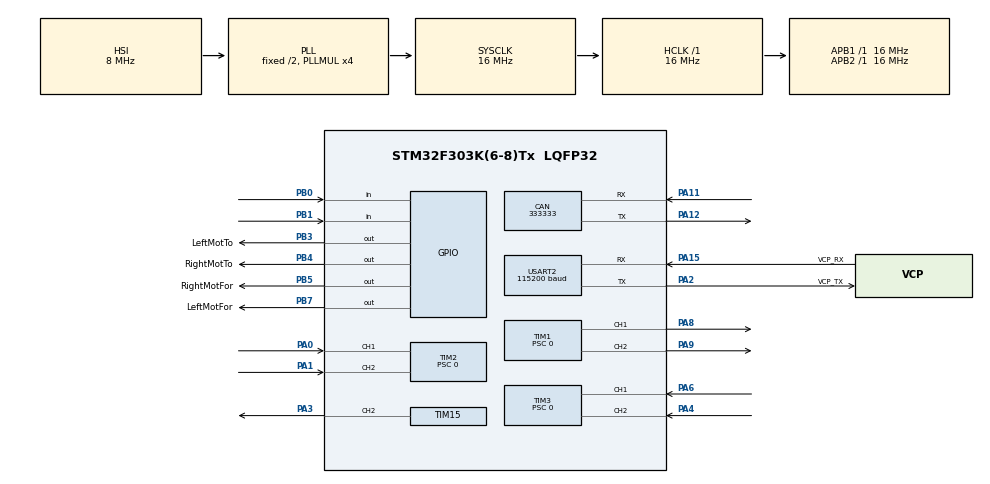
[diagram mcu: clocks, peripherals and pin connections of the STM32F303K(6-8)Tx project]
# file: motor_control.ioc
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Mcu.Family=STM32F3
TIM17.Prescaler=10
RCC.CortexFreq_Value=16000000
VP_TIM17_VS_ClockSourceINT.Mode=Enable_Timer
PF0\ /\ OSC_IN.Mode=HSE-External-Clock-Source
PA14.GPIO_Label=SWCLK
TIM3.EncoderMode=TIM_ENCODERMODE_TI12
PA11.Mode=CAN_Activate
TIM2.EncoderMode=TIM_ENCODERMODE_TI12
TIM1.Pulse-PWM\ Generation1\ CH1=30000
ProjectManager.StackSize=0x400
SH.S_TIM15_CH2.0=TIM15_CH2,PWM Generation2 CH2
TIM17.AutoReloadPreload=TIM_AUTORELOAD_PRELOAD_ENABLE
PA15.GPIO_Label=VCP_RX
PA12.Signal=CAN_TX
TIM15.OCFastMode_PWM-PWM\ Generation2\ CH2=TIM_OCFAST_DISABLE
TIM1.Prescaler=0
RCC.HCLKFreq_Value=16000000
RCC.APB2TimFreq_Value=16000000
RCC.AHBFreq_Value=16000000
RCC.HSE_VALUE=8000000
USART2.VirtualMode-Asynchronous=VM_ASYNC
PA15.Mode=Asynchronous
RCC.PLLMUL=RCC_PLL_MUL4
NVIC.TIM1_TRG_COM_TIM17_IRQn=true\:0\:0\:false\:false\:true\:true\:true
RCC.TIM1Selection=RCC_TIM1CLK_PLLCLK
TIM1.Channel-PWM\ Generation1\ CH1=TIM_CHANNEL_1
TIM15.Channel-PWM\ Generation2\ CH2=TIM_CHANNEL_2
PA14.Mode=Serial_Wire
PF0\ /\ OSC_IN.GPIO_Label=MCO
TIM3.Prescaler=0
PB7.Signal=GPIO_Output
PA8.Signal=S_TIM1_CH1
SH.S_TIM3_CH1.0=TIM3_CH1,Encoder_Interface
CAN.CalculateTimeQuantum=1000.0
VP_TIM1_VS_ClockSourceINT.Mode=Internal
PA0.Signal=S_TIM2_CH1_ETR
PB7.GPIO_Label=LeftMotFor
Mcu.Package=LQFP32
TIM2.Prescaler=0
PB1.Signal=GPIO_Input
PA6.Signal=S_TIM3_CH1
TIM1.Pulse-PWM\ Generation2\ CH2=4000
PA2.GPIO_Label=VCP_TX
PA15.Signal=USART2_RX
PB5.GPIO_Label=RightMotFor
RCC.APB1TimFreq_Value=16000000
TIM1.Period=13000
PB4.PinState=GPIO_PIN_RESET
PB4.Signal=GPIO_Output
PA3.Signal=S_TIM15_CH2
PB3.GPIO_Label=LeftMotTo
TIM3.AutoReloadPreload=TIM_AUTORELOAD_PRELOAD_DISABLE
CAN.CalculateBaudRate=333333
NVIC.USART2_IRQn=true\:0\:0\:false\:false\:true\:true\:true
USART2.BaudRate=115200
CAN.CalculateTimeBit=3000.00
PA13.Signal=SYS_JTMS-SWDIO
TIM1.AutoReloadPreload=TIM_AUTORELOAD_PRELOAD_DISABLE
SH.S_TIM2_CH2.0=TIM2_CH2,Encoder_Interface
SH.S_TIM1_CH1.0=TIM1_CH1,PWM Generation1 CH1
ProjectManager.TargetToolchain=STM32CubeIDE
PA9.Signal=S_TIM1_CH2
TIM1.Channel-PWM\ Generation2\ CH2=TIM_CHANNEL_2
PA1.Signal=S_TIM2_CH2
SH.S_TIM3_CH2.0=TIM3_CH2,Encoder_Interface
TIM15.Pulse-PWM\ Generation2\ CH2=30000
board=NUCLEO-F303K8
RCC.APB2Freq_Value=16000000
PF0\ /\ OSC_IN.Signal=RCC_OSC_IN
PB4.GPIO_Label=RightMotTo
SH.S_TIM1_CH2.0=TIM1_CH2,PWM Generation2 CH2
TIM2.Period=65535
PA13.Mode=Serial_Wire
Mcu.Name=STM32F303K(6-8)Tx
PA2.Signal=USART2_TX
PA13.GPIO_Label=SWDIO
PB3.Signal=GPIO_Output
PA4.Signal=S_TIM3_CH2
RCC.SYSCLKFreq_VALUE=16000000
PB5.Signal=GPIO_Output
PA12.Mode=CAN_Activate
PA11.Signal=CAN_RX
SH.S_TIM2_CH1_ETR.0=TIM2_CH1,Encoder_Interface
PA14.Signal=SYS_JTCK-SWCLK
ProjectManager.HeapSize=0x200
RCC.HSI_VALUE=8000000
NVIC.PriorityGroup=NVIC_PRIORITYGROUP_4
PA2.Mode=Asynchronous
TIM2.AutoReloadPreload=TIM_AUTORELOAD_PRELOAD_DISABLE
RCC.APB1Freq_Value=16000000
PB0.Signal=GPIO_Input

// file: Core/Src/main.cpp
/* USER CODE BEGIN Header */
/**
  ******************************************************************************
  * @file           : main.c
  * @brief          : Main program body
  ******************************************************************************
  * @attention
  *
  * <h2><center>&copy; Copyright (c) 2021 STMicroelectronics.
  * All rights reserved.</center></h2>
  *
  * This software component is licensed by ST under BSD 3-Clause license,
  * the "License"; You may not use this file except in compliance with the
  * License. You may obtain a copy of the License at:
  *                        opensource.org/licenses/BSD-3-Clause
  *
  ******************************************************************************
  */
/* USER CODE END Header */
#include "main.h"

/* USER CODE BEGIN Includes */
#include "gcode.h"
#include "memory.h"
#include "robot.h"
#include "driver.h"
#include "pid.h"
/* USER CODE END Includes */

CAN_HandleTypeDef hcan;

TIM_HandleTypeDef htim1;
TIM_HandleTypeDef htim2;
TIM_HandleTypeDef htim3;
TIM_HandleTypeDef htim15;
TIM_HandleTypeDef htim17;

UART_HandleTypeDef huart2;

/* USER CODE BEGIN PV */
memory* EEPROM_ges;
robot* theRobot;
pid* corrPID;
gcode* GcodeCtrl;
driver* driverCtrl;
robot* robotCtrl;

#define BUFFERDATA 2
#define BUFFERRX 50

char salut[30] = "\n La carte est initialisée\n";
char rxOk[30] = "\n Le message reçu est: \n";
char rxBuffer[BUFFERRX];

uint8_t newMsg=0, rxData[BUFFERDATA], rxIndex=0, enter=10;
/* USER CODE END PV */

void SystemClock_Config(void);
static void MX_GPIO_Init(void);
static void MX_USART2_UART_Init(void);
static void MX_TIM17_Init(void);
static void MX_TIM1_Init(void);
static void MX_TIM2_Init(void);
static void MX_CAN_Init(void);
static void MX_TIM3_Init(void);
static void MX_TIM15_Init(void);

/* USER CODE BEGIN 0 */
long count;
long cars;
long freq;
bool setup;

/* USER CODE END 0 */

int main(void)
{

  /* MCU Configuration--------------------------------------------------------*/

  /* Reset of all peripherals, Initializes the Flash interface and the Systick. */
  HAL_Init();

  /* Configure the system clock */
  SystemClock_Config();

  /* Initialize all configured peripherals */
  MX_GPIO_Init();
  MX_USART2_UART_Init();
  MX_TIM17_Init();
  MX_TIM1_Init();
  MX_TIM2_Init();
  MX_CAN_Init();
  MX_TIM3_Init();
  MX_TIM15_Init();
  /* USER CODE BEGIN 2 */

  	GPIO_cfg LeftTo;
  	GPIO_cfg LeftFor;
  	GPIO_cfg RightTo;
  	GPIO_cfg RightFor;
  	LeftTo.port = LeftMotTo_GPIO_Port;
  	LeftTo.pin = LeftMotTo_Pin;
  	LeftFor.port = LeftMotFor_GPIO_Port;
  	LeftFor.pin = LeftMotFor_Pin;
  	RightTo.port = RightMotTo_GPIO_Port;
  	RightTo.pin = RightMotTo_Pin;
  	RightFor.port = RightMotFor_GPIO_Port;
  	RightFor.pin = RightMotFor_Pin;

  	driverCtrl = new driver(&hcan, &htim1, &htim2, &htim3, &huart2, RightTo, RightFor, LeftTo, LeftFor);
  	EEPROM_ges = new memory();
  	robotCtrl = new robot(driverCtrl, EEPROM_ges);
  	GcodeCtrl = new gcode(driverCtrl);

  	HAL_TIM_PWM_Start(&htim1,TIM_CHANNEL_1);
  	HAL_TIM_PWM_Start(&htim1,TIM_CHANNEL_2);
  	HAL_TIM_PWM_Start(&htim15,TIM_CHANNEL_2);

  	HAL_TIM_Encoder_Start(&htim2, TIM_CHANNEL_ALL);
  	HAL_TIM_Encoder_Start(&htim3, TIM_CHANNEL_ALL);
  	HAL_UART_Receive_IT(&huart2, rxData, 1);
  	HAL_TIM_Base_Start_IT(&htim17);
  	 /*
  	char write_data[50];
  	  memset(write_data, 0, sizeof(write_data));
  	  strcpy(write_data, "Hello World!!!");

  	  EEPROM_ges->save_to_flash((uint8_t*)write_data);

  	  char read_data[50];
  	  memset(read_data, 0, sizeof(read_data));

  	  EEPROM_ges->read_flash((uint8_t*)read_data);*/

  	  /*AllData memData;
  	  EEPROM_ges->readMemory();
  	  memData = EEPROM_ges->getMemory();
  	  memData.encDis = 274.0f;
  	  memData.encWheelRadius = 69.0f;
  	  memData.motWheelRadius = 66.685f;
  	  memData.left_Kd = 8.87f;
  	  memData.left_Ki = 0.98f;
  	  memData.left_Kp = 4.0123f;
  	  memData.right_Kd = 26.456f;
  	  memData.right_Ki = 5.90f;
  	  memData.right_Kp = 9.67f;
  	  memData.motDis = 7.0f;
  	  memData.K = 69.0*3.14/1000;

  	  EEPROM_ges->saveMemory(memData);
  	  //memset(&memData, 0, sizeof(&memData));
  	  //EEPROM_ges->save_to_flash((uint8_t*)&memData);

  	  //AllData readed;
  	  //EEPROM_ges->readData(&readed);
  /* USER CODE END 2 */

  /* Infinite loop */
  /* USER CODE BEGIN WHILE */

  count = 0;
  freq = 0;
  cars = 0;
  setup = false;
  while (1)

  {
	  if(newMsg==1) {
		  //count++; //counter for debug

		  GcodeCtrl->readInstruction(rxBuffer);
		  robotCtrl->execInstruction(GcodeCtrl);
		  newMsg=0;
		  //strcpy(rxBuffer, "");
	  }
	  if(setup) {
		  robotCtrl->setup();
		  setup = false;
	  }
	  //char msg[50];
	  //sprintf(msg,"encoder droite=%d\n\r",((TIM2->CNT)>>2));
	  //driverCtrl->printf(msg);
	  //sprintf(msg,"encoder gauche=%d\n\r",((TIM3->CNT)>>2));
	  //driverCtrl->printf(msg);
	  //HAL_Delay(100);

	 //HAL_Delay(100);
    /* USER CODE END WHILE */

  }
}

void SystemClock_Config(void)
{
  RCC_OscInitTypeDef RCC_OscInitStruct = {0};
  RCC_ClkInitTypeDef RCC_ClkInitStruct = {0};
  RCC_PeriphCLKInitTypeDef PeriphClkInit = {0};

  /** Initializes the RCC Oscillators according to the specified parameters
  * in the RCC_OscInitTypeDef structure.
  */
  RCC_OscInitStruct.OscillatorType = RCC_OSCILLATORTYPE_HSI;
  RCC_OscInitStruct.HSIState = RCC_HSI_ON;
  RCC_OscInitStruct.HSICalibrationValue = RCC_HSICALIBRATION_DEFAULT;
  RCC_OscInitStruct.PLL.PLLState = RCC_PLL_ON;
  RCC_OscInitStruct.PLL.PLLSource = RCC_PLLSOURCE_HSI;
  RCC_OscInitStruct.PLL.PLLMUL = RCC_PLL_MUL4;
  if (HAL_RCC_OscConfig(&RCC_OscInitStruct) != HAL_OK)
  {
    Error_Handler();
  }
  /** Initializes the CPU, AHB and APB buses clocks
  */
  RCC_ClkInitStruct.ClockType = RCC_CLOCKTYPE_HCLK|RCC_CLOCKTYPE_SYSCLK
                              |RCC_CLOCKTYPE_PCLK1|RCC_CLOCKTYPE_PCLK2;
  RCC_ClkInitStruct.SYSCLKSource = RCC_SYSCLKSOURCE_PLLCLK;
  RCC_ClkInitStruct.AHBCLKDivider = RCC_SYSCLK_DIV1;
  RCC_ClkInitStruct.APB1CLKDivider = RCC_HCLK_DIV1;
  RCC_ClkInitStruct.APB2CLKDivider = RCC_HCLK_DIV1;

  if (HAL_RCC_ClockConfig(&RCC_ClkInitStruct, FLASH_LATENCY_0) != HAL_OK)
  {
    Error_Handler();
  }
  PeriphClkInit.PeriphClockSelection = RCC_PERIPHCLK_TIM1;
  PeriphClkInit.Tim1ClockSelection = RCC_TIM1CLK_PLLCLK;
  if (HAL_RCCEx_PeriphCLKConfig(&PeriphClkInit) != HAL_OK)
  {
    Error_Handler();
  }
}

static void MX_CAN_Init(void)
{

  hcan.Instance = CAN;
  hcan.Init.Prescaler = 16;
  hcan.Init.Mode = CAN_MODE_NORMAL;
  hcan.Init.SyncJumpWidth = CAN_SJW_1TQ;
  hcan.Init.TimeSeg1 = CAN_BS1_1TQ;
  hcan.Init.TimeSeg2 = CAN_BS2_1TQ;
  hcan.Init.TimeTriggeredMode = DISABLE;
  hcan.Init.AutoBusOff = DISABLE;
  hcan.Init.AutoWakeUp = DISABLE;
  hcan.Init.AutoRetransmission = DISABLE;
  hcan.Init.ReceiveFifoLocked = DISABLE;
  hcan.Init.TransmitFifoPriority = DISABLE;
  if (HAL_CAN_Init(&hcan) != HAL_OK)
  {
    Error_Handler();
  }

}

static void MX_TIM1_Init(void)
{

  TIM_ClockConfigTypeDef sClockSourceConfig = {0};
  TIM_MasterConfigTypeDef sMasterConfig = {0};
  TIM_OC_InitTypeDef sConfigOC = {0};
  TIM_BreakDeadTimeConfigTypeDef sBreakDeadTimeConfig = {0};

  htim1.Instance = TIM1;
  htim1.Init.Prescaler = 1;
  htim1.Init.CounterMode = TIM_COUNTERMODE_UP;
  htim1.Init.Period = 10000;
  htim1.Init.ClockDivision = TIM_CLOCKDIVISION_DIV1;
  htim1.Init.RepetitionCounter = 0;
  htim1.Init.AutoReloadPreload = TIM_AUTORELOAD_PRELOAD_DISABLE;
  if (HAL_TIM_Base_Init(&htim1) != HAL_OK)
  {
    Error_Handler();
  }
  sClockSourceConfig.ClockSource = TIM_CLOCKSOURCE_INTERNAL;
  if (HAL_TIM_ConfigClockSource(&htim1, &sClockSourceConfig) != HAL_OK)
  {
    Error_Handler();
  }
  if (HAL_TIM_PWM_Init(&htim1) != HAL_OK)
  {
    Error_Handler();
  }
  sMasterConfig.MasterOutputTrigger = TIM_TRGO_RESET;
  sMasterConfig.MasterOutputTrigger2 = TIM_TRGO2_RESET;
  sMasterConfig.MasterSlaveMode = TIM_MASTERSLAVEMODE_DISABLE;
  if (HAL_TIMEx_MasterConfigSynchronization(&htim1, &sMasterConfig) != HAL_OK)
  {
    Error_Handler();
  }
  sConfigOC.OCMode = TIM_OCMODE_PWM1;
  sConfigOC.Pulse = 30000;
  sConfigOC.OCPolarity = TIM_OCPOLARITY_HIGH;
  sConfigOC.OCNPolarity = TIM_OCNPOLARITY_HIGH;
  sConfigOC.OCFastMode = TIM_OCFAST_DISABLE;
  sConfigOC.OCIdleState = TIM_OCIDLESTATE_RESET;
  sConfigOC.OCNIdleState = TIM_OCNIDLESTATE_RESET;
  if (HAL_TIM_PWM_ConfigChannel(&htim1, &sConfigOC, TIM_CHANNEL_1) != HAL_OK)
  {
    Error_Handler();
  }
  sConfigOC.Pulse = 4000;
  if (HAL_TIM_PWM_ConfigChannel(&htim1, &sConfigOC, TIM_CHANNEL_2) != HAL_OK)
  {
    Error_Handler();
  }
  sBreakDeadTimeConfig.OffStateRunMode = TIM_OSSR_DISABLE;
  sBreakDeadTimeConfig.OffStateIDLEMode = TIM_OSSI_DISABLE;
  sBreakDeadTimeConfig.LockLevel = TIM_LOCKLEVEL_OFF;
  sBreakDeadTimeConfig.DeadTime = 0;
  sBreakDeadTimeConfig.BreakState = TIM_BREAK_DISABLE;
  sBreakDeadTimeConfig.BreakPolarity = TIM_BREAKPOLARITY_HIGH;
  sBreakDeadTimeConfig.BreakFilter = 0;
  sBreakDeadTimeConfig.Break2State = TIM_BREAK2_DISABLE;
  sBreakDeadTimeConfig.Break2Polarity = TIM_BREAK2POLARITY_HIGH;
  sBreakDeadTimeConfig.Break2Filter = 0;
  sBreakDeadTimeConfig.AutomaticOutput = TIM_AUTOMATICOUTPUT_DISABLE;
  if (HAL_TIMEx_ConfigBreakDeadTime(&htim1, &sBreakDeadTimeConfig) != HAL_OK)
  {
    Error_Handler();
  }
  HAL_TIM_MspPostInit(&htim1);

}

static void MX_TIM2_Init(void)
{

  TIM_Encoder_InitTypeDef sConfig = {0};
  TIM_MasterConfigTypeDef sMasterConfig = {0};

  htim2.Instance = TIM2;
  htim2.Init.Prescaler = 0;
  htim2.Init.CounterMode = TIM_COUNTERMODE_UP;
  htim2.Init.Period = 65535;
  htim2.Init.ClockDivision = TIM_CLOCKDIVISION_DIV1;
  htim2.Init.AutoReloadPreload = TIM_AUTORELOAD_PRELOAD_DISABLE;
  sConfig.EncoderMode = TIM_ENCODERMODE_TI12;
  sConfig.IC1Polarity = TIM_ICPOLARITY_RISING;
  sConfig.IC1Selection = TIM_ICSELECTION_DIRECTTI;
  sConfig.IC1Prescaler = TIM_ICPSC_DIV1;
  sConfig.IC1Filter = 0;
  sConfig.IC2Polarity = TIM_ICPOLARITY_RISING;
  sConfig.IC2Selection = TIM_ICSELECTION_DIRECTTI;
  sConfig.IC2Prescaler = TIM_ICPSC_DIV1;
  sConfig.IC2Filter = 0;
  if (HAL_TIM_Encoder_Init(&htim2, &sConfig) != HAL_OK)
  {
    Error_Handler();
  }
  sMasterConfig.MasterOutputTrigger = TIM_TRGO_RESET;
  sMasterConfig.MasterSlaveMode = TIM_MASTERSLAVEMODE_DISABLE;
  if (HAL_TIMEx_MasterConfigSynchronization(&htim2, &sMasterConfig) != HAL_OK)
  {
    Error_Handler();
  }

}

static void MX_TIM3_Init(void)
{

  TIM_Encoder_InitTypeDef sConfig = {0};
  TIM_MasterConfigTypeDef sMasterConfig = {0};

  htim3.Instance = TIM3;
  htim3.Init.Prescaler = 0;
  htim3.Init.CounterMode = TIM_COUNTERMODE_UP;
  htim3.Init.Period = 65535;
  htim3.Init.ClockDivision = TIM_CLOCKDIVISION_DIV1;
  htim3.Init.AutoReloadPreload = TIM_AUTORELOAD_PRELOAD_DISABLE;
  sConfig.EncoderMode = TIM_ENCODERMODE_TI12;
  sConfig.IC1Polarity = TIM_ICPOLARITY_RISING;
  sConfig.IC1Selection = TIM_ICSELECTION_DIRECTTI;
  sConfig.IC1Prescaler = TIM_ICPSC_DIV1;
  sConfig.IC1Filter = 0;
  sConfig.IC2Polarity = TIM_ICPOLARITY_RISING;
  sConfig.IC2Selection = TIM_ICSELECTION_DIRECTTI;
  sConfig.IC2Prescaler = TIM_ICPSC_DIV1;
  sConfig.IC2Filter = 0;
  if (HAL_TIM_Encoder_Init(&htim3, &sConfig) != HAL_OK)
  {
    Error_Handler();
  }
  sMasterConfig.MasterOutputTrigger = TIM_TRGO_RESET;
  sMasterConfig.MasterSlaveMode = TIM_MASTERSLAVEMODE_DISABLE;
  if (HAL_TIMEx_MasterConfigSynchronization(&htim3, &sMasterConfig) != HAL_OK)
  {
    Error_Handler();
  }

}

static void MX_TIM15_Init(void)
{

  TIM_MasterConfigTypeDef sMasterConfig = {0};
  TIM_OC_InitTypeDef sConfigOC = {0};
  TIM_BreakDeadTimeConfigTypeDef sBreakDeadTimeConfig = {0};

  htim15.Instance = TIM15;
  htim15.Init.Prescaler = 0;
  htim15.Init.CounterMode = TIM_COUNTERMODE_UP;
  htim15.Init.Period = 65535;
  htim15.Init.ClockDivision = TIM_CLOCKDIVISION_DIV1;
  htim15.Init.RepetitionCounter = 0;
  htim15.Init.AutoReloadPreload = TIM_AUTORELOAD_PRELOAD_DISABLE;
  if (HAL_TIM_PWM_Init(&htim15) != HAL_OK)
  {
    Error_Handler();
  }
  sMasterConfig.MasterOutputTrigger = TIM_TRGO_RESET;
  sMasterConfig.MasterSlaveMode = TIM_MASTERSLAVEMODE_DISABLE;
  if (HAL_TIMEx_MasterConfigSynchronization(&htim15, &sMasterConfig) != HAL_OK)
  {
    Error_Handler();
  }
  sConfigOC.OCMode = TIM_OCMODE_PWM1;
  sConfigOC.Pulse = 30000;
  sConfigOC.OCPolarity = TIM_OCPOLARITY_HIGH;
  sConfigOC.OCNPolarity = TIM_OCNPOLARITY_HIGH;
  sConfigOC.OCFastMode = TIM_OCFAST_DISABLE;
  sConfigOC.OCIdleState = TIM_OCIDLESTATE_RESET;
  sConfigOC.OCNIdleState = TIM_OCNIDLESTATE_RESET;
  if (HAL_TIM_PWM_ConfigChannel(&htim15, &sConfigOC, TIM_CHANNEL_2) != HAL_OK)
  {
    Error_Handler();
  }
  sBreakDeadTimeConfig.OffStateRunMode = TIM_OSSR_DISABLE;
  sBreakDeadTimeConfig.OffStateIDLEMode = TIM_OSSI_DISABLE;
  sBreakDeadTimeConfig.LockLevel = TIM_LOCKLEVEL_OFF;
  sBreakDeadTimeConfig.DeadTime = 0;
  sBreakDeadTimeConfig.BreakState = TIM_BREAK_DISABLE;
  sBreakDeadTimeConfig.BreakPolarity = TIM_BREAKPOLARITY_HIGH;
  sBreakDeadTimeConfig.BreakFilter = 0;
  sBreakDeadTimeConfig.AutomaticOutput = TIM_AUTOMATICOUTPUT_DISABLE;
  if (HAL_TIMEx_ConfigBreakDeadTime(&htim15, &sBreakDeadTimeConfig) != HAL_OK)
  {
    Error_Handler();
  }
  HAL_TIM_MspPostInit(&htim15);

}

static void MX_TIM17_Init(void)
{

  htim17.Instance = TIM17;
  htim17.Init.Prescaler = 10;
  htim17.Init.CounterMode = TIM_COUNTERMODE_UP;
  htim17.Init.Period = 65535;
  htim17.Init.ClockDivision = TIM_CLOCKDIVISION_DIV1;
  htim17.Init.RepetitionCounter = 0;
  htim17.Init.AutoReloadPreload = TIM_AUTORELOAD_PRELOAD_ENABLE;
  if (HAL_TIM_Base_Init(&htim17) != HAL_OK)
  {
    Error_Handler();
  }

}

static void MX_USART2_UART_Init(void)
{

  huart2.Instance = USART2;
  huart2.Init.BaudRate = 115200;
  huart2.Init.WordLength = UART_WORDLENGTH_8B;
  huart2.Init.StopBits = UART_STOPBITS_1;
  huart2.Init.Parity = UART_PARITY_NONE;
  huart2.Init.Mode = UART_MODE_TX_RX;
  huart2.Init.HwFlowCtl = UART_HWCONTROL_NONE;
  huart2.Init.OverSampling = UART_OVERSAMPLING_16;
  huart2.Init.OneBitSampling = UART_ONE_BIT_SAMPLE_DISABLE;
  huart2.AdvancedInit.AdvFeatureInit = UART_ADVFEATURE_NO_INIT;
  if (HAL_UART_Init(&huart2) != HAL_OK)
  {
    Error_Handler();
  }

}

static void MX_GPIO_Init(void)
{
  GPIO_InitTypeDef GPIO_InitStruct = {0};

  /* GPIO Ports Clock Enable */
  __HAL_RCC_GPIOF_CLK_ENABLE();
  __HAL_RCC_GPIOA_CLK_ENABLE();
  __HAL_RCC_GPIOB_CLK_ENABLE();

  /*Configure GPIO pin Output Level */
  HAL_GPIO_WritePin(GPIOB, LeftMotTo_Pin|RightMotTo_Pin|RightMotFor_Pin|LeftMotFor_Pin, GPIO_PIN_RESET);

  /*Configure GPIO pins : PB0 PB1 */
  GPIO_InitStruct.Pin = GPIO_PIN_0|GPIO_PIN_1;
  GPIO_InitStruct.Mode = GPIO_MODE_INPUT;
  GPIO_InitStruct.Pull = GPIO_NOPULL;
  HAL_GPIO_Init(GPIOB, &GPIO_InitStruct);

  /*Configure GPIO pins : LeftMotTo_Pin RightMotTo_Pin RightMotFor_Pin LeftMotFor_Pin */
  GPIO_InitStruct.Pin = LeftMotTo_Pin|RightMotTo_Pin|RightMotFor_Pin|LeftMotFor_Pin;
  GPIO_InitStruct.Mode = GPIO_MODE_OUTPUT_PP;
  GPIO_InitStruct.Pull = GPIO_NOPULL;
  GPIO_InitStruct.Speed = GPIO_SPEED_FREQ_LOW;
  HAL_GPIO_Init(GPIOB, &GPIO_InitStruct);

}

/* USER CODE BEGIN 4 */
void HAL_UART_RxCpltCallback(UART_HandleTypeDef *huart) {
	/*if (huart->Instance == USART2) {
		char test[] = "seial received\n\r";
			HAL_UART_Transmit(&huart2, (uint8_t*)test, sizeof(test), 100);
			//HAL_UART_Receive_IT(&huart2, rxData, 1);
	}*/
	//cars++; //compteur debug
	if(huart->Instance == USART2)
		{
			if(rxData[0] != enter)
			{
				rxBuffer[rxIndex]=rxData[0];
				rxIndex++;
			}
			else
			{
				//char OK[30] = "\n Message reçu\n";
				//HAL_UART_Transmit(&huart2, (uint8_t*)OK, strlen(OK), 500);
				newMsg=1;
				rxBuffer[rxIndex]  = '\0';
				rxIndex=0;//ne pas oubluier de mettre la fin de la chaine de caractère

			}

			HAL_UART_Receive_IT(&huart2, rxData, 1);

		}

}
void HAL_TIM_PeriodElapsedCallback(TIM_HandleTypeDef* htim)
{
	//robotCtrl->setup();
	setup = true;

}
/* USER CODE END 4 */

void Error_Handler(void)
{
  __disable_irq();
  while (1)
  {
  }
}

/************************ (C) COPYRIGHT STMicroelectronics *****END OF FILE****/
